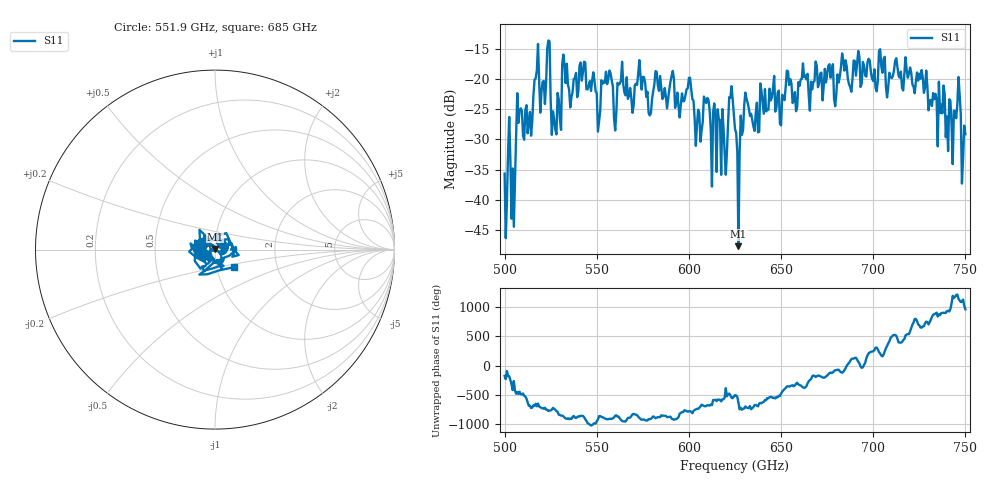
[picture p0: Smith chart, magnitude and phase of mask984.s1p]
!Created with skrf (http://scikit-rf.org).
# GHz S MA R 50.0
!freq magS11 angS11
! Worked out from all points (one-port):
!   401 points, 500 GHz to 750 GHz, reference 50 ohm
!   lowest |S11| = -47.7 dB at 626.9 GHz (marker M1), VSWR 1.01, Z = 50 + j0.408 ohm
!   |S11| at or under -10 dB: start of sweep to end of sweep
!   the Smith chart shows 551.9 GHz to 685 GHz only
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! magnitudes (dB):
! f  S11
! 500 GHz  -35.7
! 503.1 GHz  -33.3
! 504.4 GHz  -34.8
! 507.5 GHz  -27.2
! 513.8 GHz  -25.4
! 517.5 GHz  -18.5
! 520.6 GHz  -20.4
! 523.8 GHz  -13.5
! 526.9 GHz  -26.6
! 531.2 GHz  -17.5
! 542.5 GHz  -18.8
! 550.6 GHz  -28.7
! 562.5 GHz  -20.8
! 593.8 GHz  -22.2
! 600 GHz  -19.8
! 605 GHz  -25.1
! 609.4 GHz  -24.0
! 618.8 GHz  -28.0
! 622.5 GHz  -23.1
! 625 GHz  -28.3
! 626.9 GHz  -47.7
! 631.2 GHz  -23.2
! 656.2 GHz  -23.9
! 687.5 GHz  -21.3
! 718.8 GHz  -19.7
! 741.9 GHz  -23.6
! 746.2 GHz  -19.6
! 750 GHz  -29.1
